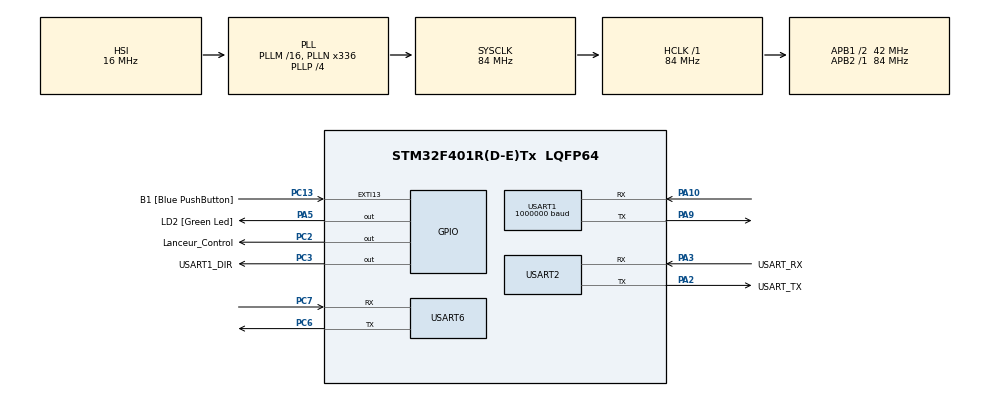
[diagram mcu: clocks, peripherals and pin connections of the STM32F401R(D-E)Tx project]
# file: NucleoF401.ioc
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Mcu.Family=STM32F4
Mcu.Name=STM32F401R(D-E)Tx
Mcu.Package=LQFP64
NVIC.EXTI15_10_IRQn=true\:0\:0\:false\:false\:true\:true
NVIC.PriorityGroup=NVIC_PRIORITYGROUP_0
NVIC.TIM3_IRQn=true\:0\:0\:false\:false\:true\:true
PA10.Mode=Asynchronous
PA10.Signal=USART1_RX
PA13.GPIO_Label=TMS
PA13.Signal=SYS_JTMS-SWDIO
PA14.GPIO_Label=TCK
PA14.Signal=SYS_JTCK-SWCLK
PA2.GPIO_Label=USART_TX
PA2.GPIO_Mode=GPIO_MODE_AF_PP
PA2.GPIO_PuPd=GPIO_NOPULL
PA2.GPIO_Speed=GPIO_SPEED_FREQ_LOW
PA2.Mode=Asynchronous
PA2.Signal=USART2_TX
PA3.GPIO_Label=USART_RX
PA3.GPIO_Mode=GPIO_MODE_AF_PP
PA3.GPIO_PuPd=GPIO_NOPULL
PA3.GPIO_Speed=GPIO_SPEED_FREQ_LOW
PA3.Mode=Asynchronous
PA3.Signal=USART2_RX
PA5.GPIO_Label=LD2 [Green Led]
PA5.GPIO_Mode=GPIO_MODE_OUTPUT_PP
PA5.GPIO_PuPd=GPIO_NOPULL
PA5.GPIO_Speed=GPIO_SPEED_FREQ_LOW
PA5.Signal=GPIO_Output
PA9.Mode=Asynchronous
PA9.Signal=USART1_TX
PB3.GPIO_Label=SWO
PB3.Signal=SYS_JTDO-SWO
PC13-ANTI_TAMP.GPIO_Label=B1 [Blue PushButton]
PC13-ANTI_TAMP.GPIO_ModeDefaultEXTI=GPIO_MODE_IT_FALLING
PC13-ANTI_TAMP.GPIO_PuPd=GPIO_NOPULL
PC13-ANTI_TAMP.Signal=GPXTI13
PC14-OSC32_IN.Signal=RCC_OSC32_IN
PC15-OSC32_OUT.Signal=RCC_OSC32_OUT
PC2.GPIO_Label=Lanceur_Control
PC2.Signal=GPIO_Output
PC3.GPIO_Label=USART1_DIR
PC3.Signal=GPIO_Output
PC6.Mode=Asynchronous
PC6.Signal=USART6_TX
PC7.Mode=Asynchronous
PC7.Signal=USART6_RX
PH0\ -\ OSC_IN.Signal=RCC_OSC_IN
PH1\ -\ OSC_OUT.Signal=RCC_OSC_OUT
ProjectManager.HeapSize=0x200
ProjectManager.StackSize=0x400
ProjectManager.TargetToolchain=Makefile
RCC.AHBFreq_Value=84000000
RCC.APB1CLKDivider=RCC_HCLK_DIV2
RCC.APB1Freq_Value=42000000
RCC.APB1TimFreq_Value=84000000
RCC.APB2Freq_Value=84000000
RCC.APB2TimFreq_Value=84000000
RCC.CortexFreq_Value=84000000
RCC.HCLKFreq_Value=84000000
RCC.HSE_VALUE=8000000
RCC.HSI_VALUE=16000000
RCC.LSE_VALUE=32768
RCC.PLLN=336
RCC.PLLP=RCC_PLLP_DIV4
RCC.PLLQ=7
RCC.SYSCLKFreq_VALUE=84000000
RCC.SYSCLKSource=RCC_SYSCLKSOURCE_PLLCLK
RCC.VCOOutputFreq_Value=336000000
TIM3.Period=1000-1
TIM3.Prescaler=42000-1
USART1.BaudRate=1000000
USART1.VirtualMode=VM_ASYNC
USART2.VirtualMode=VM_ASYNC
USART6.VirtualMode=VM_ASYNC
VP_TIM3_VS_ClockSourceINT.Mode=Internal
board=NUCLEO-F401RE

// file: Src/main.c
/**
  ******************************************************************************
  * @file           : main.c
  * @brief          : Main program body
  ******************************************************************************
  ** This notice applies to any and all portions of this file
  * that are not between comment pairs USER CODE BEGIN and
  * USER CODE END. Other portions of this file, whether
  * inserted by the user or by software development tools
  * are owned by their respective copyright owners.
  *
  * COPYRIGHT(c) 2018 STMicroelectronics
  *
  * Redistribution and use in source and binary forms, with or without modification,
  * are permitted provided that the following conditions are met:
  *   1. Redistributions of source code must retain the above copyright notice,
  *      this list of conditions and the following disclaimer.
  *   2. Redistributions in binary form must reproduce the above copyright notice,
  *      this list of conditions and the following disclaimer in the documentation
  *      and/or other materials provided with the distribution.
  *   3. Neither the name of STMicroelectronics nor the names of its contributors
  *      may be used to endorse or promote products derived from this software
  *      without specific prior written permission.
  *
  * THIS SOFTWARE IS PROVIDED BY THE COPYRIGHT HOLDERS AND CONTRIBUTORS "AS IS"
  * AND ANY EXPRESS OR IMPLIED WARRANTIES, INCLUDING, BUT NOT LIMITED TO, THE
  * IMPLIED WARRANTIES OF MERCHANTABILITY AND FITNESS FOR A PARTICULAR PURPOSE ARE
  * DISCLAIMED. IN NO EVENT SHALL THE COPYRIGHT HOLDER OR CONTRIBUTORS BE LIABLE
  * FOR ANY DIRECT, INDIRECT, INCIDENTAL, SPECIAL, EXEMPLARY, OR CONSEQUENTIAL
  * DAMAGES (INCLUDING, BUT NOT LIMITED TO, PROCUREMENT OF SUBSTITUTE GOODS OR
  * SERVICES; LOSS OF USE, DATA, OR PROFITS; OR BUSINESS INTERRUPTION) HOWEVER
  * CAUSED AND ON ANY THEORY OF LIABILITY, WHETHER IN CONTRACT, STRICT LIABILITY,
  * OR TORT (INCLUDING NEGLIGENCE OR OTHERWISE) ARISING IN ANY WAY OUT OF THE USE
  * OF THIS SOFTWARE, EVEN IF ADVISED OF THE POSSIBILITY OF SUCH DAMAGE.
  *
  ******************************************************************************
  */
#include "main.h"
#include "stm32f4xx_hal.h"

/* USER CODE BEGIN Includes */
#include "servo.h"
#include "xl_320.h"
/* USER CODE END Includes */

TIM_HandleTypeDef htim3;

UART_HandleTypeDef huart1;
UART_HandleTypeDef huart2;
UART_HandleTypeDef huart6;

/* USER CODE BEGIN PV */
/* Private variables ---------------------------------------------------------*/

/* USER CODE END PV */

void SystemClock_Config(void);
static void MX_GPIO_Init(void);
static void MX_USART1_UART_Init(void);
static void MX_TIM3_Init(void);
static void MX_USART2_UART_Init(void);
static void MX_USART6_UART_Init(void);

/* USER CODE BEGIN PFP */
/* Private function prototypes -----------------------------------------------*/

/* USER CODE END PFP */

/* USER CODE BEGIN 0 */
void blink_led(uint8_t data, uint8_t* last_color, int* sens){
    if ((*last_color) != data) {
        if (data == 118){ //vert v
            HAL_TIM_Base_Stop_IT(&htim3);
            htim3.Instance->ARR = 30-1;
            HAL_TIM_Base_Start_IT(&htim3);
            htim3.Instance->CNT = 0;
            *sens = 1;
        } else if (data == 111){ //orange
            HAL_TIM_Base_Stop_IT(&htim3);
            htim3.Instance->ARR = 300-1;
            HAL_TIM_Base_Start_IT(&htim3);
            htim3.Instance->CNT = 0;
            *sens = 0;
        } else {
            HAL_TIM_Base_Stop_IT(&htim3);
            htim3.Instance->ARR = 1000-1;
            HAL_TIM_Base_Start_IT(&htim3);
            htim3.Instance->CNT = 0;
        }
        *last_color = data;
    }
}

/* USER CODE END 0 */

int main(void)
{

  /* MCU Configuration----------------------------------------------------------*/

  /* Reset of all peripherals, Initializes the Flash interface and the Systick. */
  HAL_Init();

  /* Configure the system clock */
  SystemClock_Config();

  /* Initialize all configured peripherals */
  MX_GPIO_Init();
  MX_USART1_UART_Init();
  MX_TIM3_Init();
  MX_USART2_UART_Init();
  MX_USART6_UART_Init();
  /* USER CODE BEGIN 2 */
  HAL_TIM_Base_Start_IT(&htim3);

  //////XL maintenance ----------------------
  HAL_GPIO_TogglePin(LD2_GPIO_Port, LD2_Pin);
	/*HAL_Delay(100);
	HAL_GPIO_TogglePin(LD2_GPIO_Port, LD2_Pin);
	HAL_Delay(100);
	HAL_GPIO_TogglePin(LD2_GPIO_Port, LD2_Pin);
	HAL_Delay(100);
	HAL_GPIO_TogglePin(LD2_GPIO_Port, LD2_Pin);
	HAL_Delay(100);
	HAL_GPIO_TogglePin(LD2_GPIO_Port, LD2_Pin);
	HAL_Delay(100);
	HAL_GPIO_TogglePin(LD2_GPIO_Port, LD2_Pin);
	HAL_Delay(100);
	HAL_GPIO_TogglePin(LD2_GPIO_Port, LD2_Pin);
	HAL_Delay(100);
	HAL_GPIO_TogglePin(LD2_GPIO_Port, LD2_Pin);
	HAL_Delay(100);
	HAL_GPIO_TogglePin(LD2_GPIO_Port, LD2_Pin);
	HAL_Delay(100);
	HAL_GPIO_TogglePin(LD2_GPIO_Port, LD2_Pin);
	HAL_Delay(100);*/
  XL_Interface interface;
  XL320InterfaceDefine(&interface);

  HAL_Delay(100);

  XL servo[3];
  uint16_t nbServos; //number of detected servos
  uint8_t nbmaxServosWanted = 3; //number max of servos controle
  XL320ServosActivation(&interface, servo, nbmaxServosWanted, &nbServos);

  uint8_t data;
  uint8_t last_color = 97; //initialisation couleur autre 'a'
  int sens;
  int pas_0;
  int pas_1;
  int pas_2;
  int init_0;
  int init_1;
  int init_2;

  //init position servos
  XL_Set_Goal_Position(&servo[0], 450, 1);
  XL_Set_Goal_Position(&servo[1], 380, 1);
  XL_Set_Goal_Position(&servo[2], 420, 1);
  HAL_GPIO_WritePin(Lanceur_Control_GPIO_Port, Lanceur_Control_Pin, GPIO_PIN_SET);
  // HAL_Delay(5000);
  // XL_Set_Goal_Position(&servo[1], 200, 1);

  /* USER CODE END 2 */

  /* Infinite loop */
  /* USER CODE BEGIN WHILE */

  while (1)
  {
    init_0 = 450;
    pas_0 = 650;
    init_1 = 380;
    pas_1 = 220;
    init_2 = 420;
    pas_2 = 620;
    HAL_UART_Receive(&huart6, &data, 1, 500);
    blink_led(data, &last_color, &sens);

    // //servo porte servo[2] id : 4
    // // XL_Set_Goal_Position(&servo[2], 450, 1);
    // // HAL_Delay(50);
    // XL_Set_Goal_Position(&servo[2], 620, 1);
    // HAL_Delay(1000);
    //
    // //servo canon servo[1] id : 2
    // XL_Set_Goal_Position(&servo[1], 350, 1);
    // HAL_Delay(50);
    // // XL_Set_Goal_Position(&servo[1], 480, 1);
    // // HAL_Delay(50);
    //
    // //servo porte entree servo[0] id : 1
    // XL_Set_Goal_Position(&servo[0], 650, 1);
    // HAL_Delay(5000);
    // XL_Set_Goal_Position(&servo[0], 450, 1);
    // HAL_Delay(5000);

    // XL_Set_Goal_Position(&servo[1], 500, 1);
    // HAL_Delay(100);
    // XL_Set_Goal_Position(&servo[2], 200, 1);
    // HAL_Delay(100);

    /* Truc qui bouge */
    XL_Set_Goal_Position(&servo[2], pas_2, 1);
    HAL_Delay(50);
    XL_Set_Goal_Position(&servo[0], pas_0, 1);
    HAL_Delay(825);
    XL_Set_Goal_Position(&servo[0], init_0, 1);
    HAL_Delay(1200);
    XL_Set_Goal_Position(&servo[1], pas_1, 1);
    HAL_Delay(500);
    XL_Set_Goal_Position(&servo[1], init_1, 1);
    HAL_Delay(50);

    switch(data) {
      case 'a':
        XL_Set_Goal_Position(&servo[0], init_0, 1);
        HAL_Delay(500);
        break;
      case 'v':
        XL_Set_Goal_Position(&servo[2], pas_2, 1);
        HAL_Delay(50);
        XL_Set_Goal_Position(&servo[0], pas_0, 1);
        HAL_Delay(825);
        XL_Set_Goal_Position(&servo[0], init_0, 1);
        HAL_Delay(1200);
        XL_Set_Goal_Position(&servo[1], pas_1, 1);
        HAL_Delay(500);
        XL_Set_Goal_Position(&servo[1], init_1, 1);
        HAL_Delay(50);
        break;
      case 'o':
        XL_Set_Goal_Position(&servo[2], init_2, 1);
        HAL_Delay(50);
        XL_Set_Goal_Position(&servo[0], pas_0, 1);
        HAL_Delay(600);
        break;
    }

    /*test*/
    //sens=0; //initialisation passant
    //sens=1;
    //angle_variation(&servo[0], pas_0, &sens);
  /* USER CODE END WHILE */

  }

}

void SystemClock_Config(void)
{

  RCC_OscInitTypeDef RCC_OscInitStruct;
  RCC_ClkInitTypeDef RCC_ClkInitStruct;

    /**Configure the main internal regulator output voltage
    */
  __HAL_RCC_PWR_CLK_ENABLE();

  __HAL_PWR_VOLTAGESCALING_CONFIG(PWR_REGULATOR_VOLTAGE_SCALE2);

    /**Initializes the CPU, AHB and APB busses clocks
    */
  RCC_OscInitStruct.OscillatorType = RCC_OSCILLATORTYPE_HSI;
  RCC_OscInitStruct.HSIState = RCC_HSI_ON;
  RCC_OscInitStruct.HSICalibrationValue = 16;
  RCC_OscInitStruct.PLL.PLLState = RCC_PLL_ON;
  RCC_OscInitStruct.PLL.PLLSource = RCC_PLLSOURCE_HSI;
  RCC_OscInitStruct.PLL.PLLM = 16;
  RCC_OscInitStruct.PLL.PLLN = 336;
  RCC_OscInitStruct.PLL.PLLP = RCC_PLLP_DIV4;
  RCC_OscInitStruct.PLL.PLLQ = 7;
  if (HAL_RCC_OscConfig(&RCC_OscInitStruct) != HAL_OK)
  {
    _Error_Handler(__FILE__, __LINE__);
  }

    /**Initializes the CPU, AHB and APB busses clocks
    */
  RCC_ClkInitStruct.ClockType = RCC_CLOCKTYPE_HCLK|RCC_CLOCKTYPE_SYSCLK
                              |RCC_CLOCKTYPE_PCLK1|RCC_CLOCKTYPE_PCLK2;
  RCC_ClkInitStruct.SYSCLKSource = RCC_SYSCLKSOURCE_PLLCLK;
  RCC_ClkInitStruct.AHBCLKDivider = RCC_SYSCLK_DIV1;
  RCC_ClkInitStruct.APB1CLKDivider = RCC_HCLK_DIV2;
  RCC_ClkInitStruct.APB2CLKDivider = RCC_HCLK_DIV1;

  if (HAL_RCC_ClockConfig(&RCC_ClkInitStruct, FLASH_LATENCY_2) != HAL_OK)
  {
    _Error_Handler(__FILE__, __LINE__);
  }

    /**Configure the Systick interrupt time
    */
  HAL_SYSTICK_Config(HAL_RCC_GetHCLKFreq()/1000);

    /**Configure the Systick
    */
  HAL_SYSTICK_CLKSourceConfig(SYSTICK_CLKSOURCE_HCLK);

  /* SysTick_IRQn interrupt configuration */
  HAL_NVIC_SetPriority(SysTick_IRQn, 0, 0);
}

/* TIM3 init function */
static void MX_TIM3_Init(void)
{

  TIM_ClockConfigTypeDef sClockSourceConfig;
  TIM_MasterConfigTypeDef sMasterConfig;

  htim3.Instance = TIM3;
  htim3.Init.Prescaler = 42000-1;
  htim3.Init.CounterMode = TIM_COUNTERMODE_UP;
  htim3.Init.Period = 1000-1;
  htim3.Init.ClockDivision = TIM_CLOCKDIVISION_DIV1;
  if (HAL_TIM_Base_Init(&htim3) != HAL_OK)
  {
    _Error_Handler(__FILE__, __LINE__);
  }

  sClockSourceConfig.ClockSource = TIM_CLOCKSOURCE_INTERNAL;
  if (HAL_TIM_ConfigClockSource(&htim3, &sClockSourceConfig) != HAL_OK)
  {
    _Error_Handler(__FILE__, __LINE__);
  }

  sMasterConfig.MasterOutputTrigger = TIM_TRGO_RESET;
  sMasterConfig.MasterSlaveMode = TIM_MASTERSLAVEMODE_DISABLE;
  if (HAL_TIMEx_MasterConfigSynchronization(&htim3, &sMasterConfig) != HAL_OK)
  {
    _Error_Handler(__FILE__, __LINE__);
  }

}

/* USART1 init function */
static void MX_USART1_UART_Init(void)
{

  huart1.Instance = USART1;
  huart1.Init.BaudRate = 1000000;
  huart1.Init.WordLength = UART_WORDLENGTH_8B;
  huart1.Init.StopBits = UART_STOPBITS_1;
  huart1.Init.Parity = UART_PARITY_NONE;
  huart1.Init.Mode = UART_MODE_TX_RX;
  huart1.Init.HwFlowCtl = UART_HWCONTROL_NONE;
  huart1.Init.OverSampling = UART_OVERSAMPLING_16;
  if (HAL_UART_Init(&huart1) != HAL_OK)
  {
    _Error_Handler(__FILE__, __LINE__);
  }

}

/* USART2 init function */
static void MX_USART2_UART_Init(void)
{

  huart2.Instance = USART2;
  huart2.Init.BaudRate = 115200;
  huart2.Init.WordLength = UART_WORDLENGTH_8B;
  huart2.Init.StopBits = UART_STOPBITS_1;
  huart2.Init.Parity = UART_PARITY_NONE;
  huart2.Init.Mode = UART_MODE_TX_RX;
  huart2.Init.HwFlowCtl = UART_HWCONTROL_NONE;
  huart2.Init.OverSampling = UART_OVERSAMPLING_16;
  if (HAL_UART_Init(&huart2) != HAL_OK)
  {
    _Error_Handler(__FILE__, __LINE__);
  }

}

/* USART6 init function */
static void MX_USART6_UART_Init(void)
{

  huart6.Instance = USART6;
  huart6.Init.BaudRate = 115200;
  huart6.Init.WordLength = UART_WORDLENGTH_8B;
  huart6.Init.StopBits = UART_STOPBITS_1;
  huart6.Init.Parity = UART_PARITY_NONE;
  huart6.Init.Mode = UART_MODE_TX_RX;
  huart6.Init.HwFlowCtl = UART_HWCONTROL_NONE;
  huart6.Init.OverSampling = UART_OVERSAMPLING_16;
  if (HAL_UART_Init(&huart6) != HAL_OK)
  {
    _Error_Handler(__FILE__, __LINE__);
  }

}

/** Configure pins as
        * Analog
        * Input
        * Output
        * EVENT_OUT
        * EXTI
        * Free pins are configured automatically as Analog (this feature is enabled through
        * the Code Generation settings)
*/
static void MX_GPIO_Init(void)
{

  GPIO_InitTypeDef GPIO_InitStruct;

  /* GPIO Ports Clock Enable */
  __HAL_RCC_GPIOC_CLK_ENABLE();
  __HAL_RCC_GPIOH_CLK_ENABLE();
  __HAL_RCC_GPIOA_CLK_ENABLE();
  __HAL_RCC_GPIOB_CLK_ENABLE();
  __HAL_RCC_GPIOD_CLK_ENABLE();

  /*Configure GPIO pin Output Level */
  HAL_GPIO_WritePin(GPIOC, Lanceur_Control_Pin|USART1_DIR_Pin, GPIO_PIN_RESET);

  /*Configure GPIO pin Output Level */
  HAL_GPIO_WritePin(LD2_GPIO_Port, LD2_Pin, GPIO_PIN_RESET);

  /*Configure GPIO pin : B1_Pin */
  GPIO_InitStruct.Pin = B1_Pin;
  GPIO_InitStruct.Mode = GPIO_MODE_IT_FALLING;
  GPIO_InitStruct.Pull = GPIO_NOPULL;
  HAL_GPIO_Init(B1_GPIO_Port, &GPIO_InitStruct);

  /*Configure GPIO pins : PC0 PC1 PC4 PC5
                           PC8 PC9 PC10 PC11
                           PC12 */
  GPIO_InitStruct.Pin = GPIO_PIN_0|GPIO_PIN_1|GPIO_PIN_4|GPIO_PIN_5
                          |GPIO_PIN_8|GPIO_PIN_9|GPIO_PIN_10|GPIO_PIN_11
                          |GPIO_PIN_12;
  GPIO_InitStruct.Mode = GPIO_MODE_ANALOG;
  GPIO_InitStruct.Pull = GPIO_NOPULL;
  HAL_GPIO_Init(GPIOC, &GPIO_InitStruct);

  /*Configure GPIO pins : Lanceur_Control_Pin USART1_DIR_Pin */
  GPIO_InitStruct.Pin = Lanceur_Control_Pin|USART1_DIR_Pin;
  GPIO_InitStruct.Mode = GPIO_MODE_OUTPUT_PP;
  GPIO_InitStruct.Pull = GPIO_NOPULL;
  GPIO_InitStruct.Speed = GPIO_SPEED_FREQ_LOW;
  HAL_GPIO_Init(GPIOC, &GPIO_InitStruct);

  /*Configure GPIO pins : PA0 PA1 PA4 PA6
                           PA7 PA8 PA11 PA12
                           PA15 */
  GPIO_InitStruct.Pin = GPIO_PIN_0|GPIO_PIN_1|GPIO_PIN_4|GPIO_PIN_6
                          |GPIO_PIN_7|GPIO_PIN_8|GPIO_PIN_11|GPIO_PIN_12
                          |GPIO_PIN_15;
  GPIO_InitStruct.Mode = GPIO_MODE_ANALOG;
  GPIO_InitStruct.Pull = GPIO_NOPULL;
  HAL_GPIO_Init(GPIOA, &GPIO_InitStruct);

  /*Configure GPIO pin : LD2_Pin */
  GPIO_InitStruct.Pin = LD2_Pin;
  GPIO_InitStruct.Mode = GPIO_MODE_OUTPUT_PP;
  GPIO_InitStruct.Pull = GPIO_NOPULL;
  GPIO_InitStruct.Speed = GPIO_SPEED_FREQ_LOW;
  HAL_GPIO_Init(LD2_GPIO_Port, &GPIO_InitStruct);

  /*Configure GPIO pins : PB0 PB1 PB2 PB10
                           PB12 PB13 PB14 PB15
                           PB4 PB5 PB6 PB7
                           PB8 PB9 */
  GPIO_InitStruct.Pin = GPIO_PIN_0|GPIO_PIN_1|GPIO_PIN_2|GPIO_PIN_10
                          |GPIO_PIN_12|GPIO_PIN_13|GPIO_PIN_14|GPIO_PIN_15
                          |GPIO_PIN_4|GPIO_PIN_5|GPIO_PIN_6|GPIO_PIN_7
                          |GPIO_PIN_8|GPIO_PIN_9;
  GPIO_InitStruct.Mode = GPIO_MODE_ANALOG;
  GPIO_InitStruct.Pull = GPIO_NOPULL;
  HAL_GPIO_Init(GPIOB, &GPIO_InitStruct);

  /*Configure GPIO pin : PD2 */
  GPIO_InitStruct.Pin = GPIO_PIN_2;
  GPIO_InitStruct.Mode = GPIO_MODE_ANALOG;
  GPIO_InitStruct.Pull = GPIO_NOPULL;
  HAL_GPIO_Init(GPIOD, &GPIO_InitStruct);

  /* EXTI interrupt init*/
  HAL_NVIC_SetPriority(EXTI15_10_IRQn, 0, 0);
  HAL_NVIC_EnableIRQ(EXTI15_10_IRQn);

}

/* USER CODE BEGIN 4 */
void HAL_TIM_PeriodElapsedCallback(TIM_HandleTypeDef* htim){
    if(htim->Instance == htim3.Instance){
        HAL_GPIO_TogglePin(LD2_GPIO_Port, LD2_Pin);
    }
}
/* USER CODE END 4 */

void _Error_Handler(char *file, int line)
{
  while(1)
  {
  }
}

/************************ (C) COPYRIGHT STMicroelectronics *****END OF FILE****/
